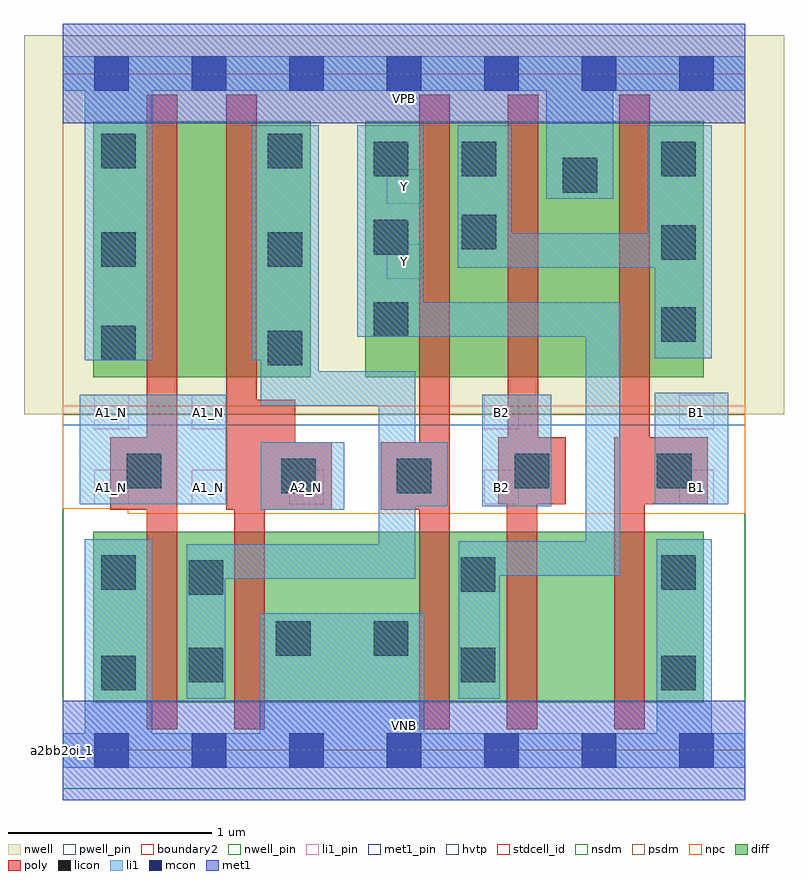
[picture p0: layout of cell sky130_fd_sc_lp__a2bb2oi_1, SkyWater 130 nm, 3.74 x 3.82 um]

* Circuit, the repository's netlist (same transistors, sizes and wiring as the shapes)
* Copyright 2020 The SkyWater PDK Authors
*
* Licensed under the Apache License, Version 2.0 (the "License");
* you may not use this file except in compliance with the License.
* You may obtain a copy of the License at
*
*     https://www.apache.org/licenses/LICENSE-2.0
*
* Unless required by applicable law or agreed to in writing, software
* distributed under the License is distributed on an "AS IS" BASIS,
* WITHOUT WARRANTIES OR CONDITIONS OF ANY KIND, either express or implied.
* See the License for the specific language governing permissions and
* limitations under the License.
*
* SPDX-License-Identifier: Apache-2.0

.SUBCKT sky130_fd_sc_lp__a2bb2oi_1 A1_N A2_N B1 B2 VGND VNB VPB VPWR Y
*.PININFO A1_N:I A2_N:I B1:I B2:I VGND:I VNB:I VPB:I VPWR:I Y:O
MMNnor0 inor A1_N VGND VNB sky130_fd_pr__nfet_01v8 m=1 w=0.84U l=0.15U mult=1 sa=0.265
+ sb=0.265 sd=0.28 area=0.063 perim=1.14
MMNnor1 inor A2_N VGND VNB sky130_fd_pr__nfet_01v8 m=1 w=0.84U l=0.15U mult=1 sa=0.265
+ sb=0.265 sd=0.28 area=0.063 perim=1.14
MMNaoi10 VGND B1 sndNB1 VNB sky130_fd_pr__nfet_01v8 m=1 w=0.84U l=0.15U mult=1
+ sa=0.265 sb=0.265 sd=0.28 area=0.063 perim=1.14
MMNaoi11 sndNB1 B2 Y VNB sky130_fd_pr__nfet_01v8 m=1 w=0.84U l=0.15U mult=1 sa=0.265
+ sb=0.265 sd=0.28 area=0.063 perim=1.14
MMNaoi20 Y inor VGND VNB sky130_fd_pr__nfet_01v8 m=1 w=0.84U l=0.15U mult=1 sa=0.265
+ sb=0.265 sd=0.28 area=0.063 perim=1.14
MMPnor0 VPWR A1_N sndPA1N VPB sky130_fd_pr__pfet_01v8_hvt m=1 w=1.26U l=0.15U mult=1
+ sa=0.265 sb=0.265 sd=0.28 area=0.063 perim=1.14
MMPnor1 sndPA1N A2_N inor VPB sky130_fd_pr__pfet_01v8_hvt m=1 w=1.26U l=0.15U mult=1
+ sa=0.265 sb=0.265 sd=0.28 area=0.063 perim=1.14
MMPaoi10 pmid B1 VPWR VPB sky130_fd_pr__pfet_01v8_hvt m=1 w=1.26U l=0.15U mult=1
+ sa=0.265 sb=0.265 sd=0.28 area=0.063 perim=1.14
MMPaoi11 pmid B2 VPWR VPB sky130_fd_pr__pfet_01v8_hvt m=1 w=1.26U l=0.15U mult=1
+ sa=0.265 sb=0.265 sd=0.28 area=0.063 perim=1.14
MMPaoi20 Y inor pmid VPB sky130_fd_pr__pfet_01v8_hvt m=1 w=1.26U l=0.15U mult=1
+ sa=0.265 sb=0.265 sd=0.28 area=0.063 perim=1.14
.ENDS sky130_fd_sc_lp__a2bb2oi_1

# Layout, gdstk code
import gdstk
lib = gdstk.Library(unit=1e-6, precision=1e-09)
def R(c, l, rs):  # rectangles x0, y0, x1, y1
    for r in rs: c.add(gdstk.rectangle(r[:2], r[2:], *l))
def A(c, l, x, y, w, h, nx, ny, dx, dy):  # array of equal rectangles
    R(c, l, [(x+i*dx, y+j*dy, x+i*dx+w, y+j*dy+h) for i in range(nx) for j in range(ny)])
def P(c, l, *ps):  # polygons
    for p in ps: c.add(gdstk.Polygon(p, *l))
nwell_pin = (64, 16)
nwell = (64, 20)
diff = (65, 20)
poly = (66, 20)
licon = (66, 44)
li1_pin = (67, 16)
li1 = (67, 20)
mcon = (67, 44)
met1_pin = (68, 16)
met1 = (68, 20)
hvtp = (78, 44)
stdcell_id = (81, 4)
nsdm = (93, 44)
psdm = (94, 20)
npc = (95, 20)
pwell_pin = (122, 16)
boundary2 = (236, 0)

sky130_fd_sc_lp__a2bb2oi = lib.new_cell('sky130_fd_sc_lp__a2bb2oi_1')
R(sky130_fd_sc_lp__a2bb2oi, nwell_pin, [(0,3.085,3.36,3.33)])
R(sky130_fd_sc_lp__a2bb2oi, nwell, [(-0.19,1.655,3.55,3.52)])
R(sky130_fd_sc_lp__a2bb2oi, diff, [(0.15,0.235,3.155,1.075), (0.15,1.835,1.22,3.095), (1.49,1.835,3.155,3.095)])
P(sky130_fd_sc_lp__a2bb2oi, poly, [(0.565,3.225),(0.415,3.225),(0.415,1.54),(0.235,1.54),(0.235,1.185),(0.415,1.185),(0.415,0.105),(0.565,0.105)],
  [(1.325,1.515),(1.145,1.515),(1.145,1.725),(0.955,1.725),(0.955,3.225),(0.805,3.225),(0.805,1.185),(0.845,1.185),(0.845,0.105),(0.995,0.105),(0.995,1.185),(1.325,1.185)],
  [(1.905,3.225),(1.755,3.225),(1.755,1.515),(1.565,1.515),(1.565,1.185),(1.755,1.185),(1.755,0.105),(1.905,0.105)],
  [(2.475,1.54),(2.34,1.54),(2.34,3.225),(2.19,3.225),(2.19,1.54),(2.145,1.54),(2.145,1.21),(2.185,1.21),(2.185,0.105),(2.335,0.105),(2.335,1.21),(2.475,1.21)],
  [(3.175,1.54),(2.89,1.54),(2.89,3.225),(2.74,3.225),(2.74,1.54),(2.715,1.54),(2.715,0.105),(2.865,0.105),(2.865,1.21),(3.175,1.21)])
A(sky130_fd_sc_lp__a2bb2oi, licon, 1.01, 1.895, 0.17, 0.17, 1, 3, 0, 0.485)
R(sky130_fd_sc_lp__a2bb2oi, licon, [(0.19,0.295,0.36,0.465), (2.945,0.295,3.115,0.465), (0.62,0.335,0.79,0.505), (1.96,0.335,2.13,0.505), (1.05,0.465,1.22,0.635), (1.53,0.465,1.7,0.635), (0.62,0.765,0.79,0.935), (1.96,0.78,2.13,0.95), (0.19,0.79,0.36,0.96), (2.945,0.79,3.115,0.96), (1.075,1.265,1.245,1.435), (1.645,1.265,1.815,1.435), (0.315,1.29,0.485,1.46), (2.225,1.29,2.395,1.46), (2.925,1.29,3.095,1.46), (0.19,1.92,0.36,2.09), (2.945,2.01,3.115,2.18), (1.53,2.035,1.7,2.205), (0.19,2.38,0.36,2.55), (2.945,2.415,3.115,2.585), (1.53,2.44,1.7,2.61), (1.965,2.465,2.135,2.635), (2.46,2.745,2.63,2.915), (1.53,2.825,1.7,2.995), (1.965,2.825,2.135,2.995), (2.945,2.825,3.115,2.995), (0.19,2.865,0.36,3.035)])
A(sky130_fd_sc_lp__a2bb2oi, li1_pin, 0.155, 1.21, 0.17, 0.17, 3, 1, 0.48, 0)
R(sky130_fd_sc_lp__a2bb2oi, li1_pin, [(2.075,1.21,2.245,1.38), (3.035,1.21,3.205,1.38), (0.155,1.58,0.325,1.75), (0.635,1.58,0.805,1.75), (2.075,1.58,2.245,1.75), (3.035,1.58,3.205,1.75), (1.595,2.32,1.765,2.49), (1.595,2.69,1.765,2.86)])
R(sky130_fd_sc_lp__a2bb2oi, li1, [(0.975,1.185,1.385,1.515), (2.065,1.2,2.405,1.75), (0.085,1.21,0.805,1.75), (2.915,1.21,3.275,1.76)])
P(sky130_fd_sc_lp__a2bb2oi, li1, [(0.11,1.92),(0.11,3.245),(0,3.245),(0,3.415),(3.36,3.415),(3.36,3.245),(2.71,3.245),(2.71,2.715),(2.38,2.715),(2.38,3.245),(0.44,3.245),(0.44,1.92)],
  [(2.925,0.085),(2.925,1.04),(3.195,1.04),(3.195,0.085),(3.36,0.085),(3.36,-0.085),(0,-0.085),(0,0.085),(0.11,0.085),(0.11,1.04),(0.44,1.04),(0.44,0.085),(0.97,0.085),(0.97,0.675),(1.78,0.675),(1.78,0.085)],
  [(2.745,0.86),(2.15,0.86),(2.15,0.255),(1.95,0.255),(1.95,1.03),(2.575,1.03),(2.575,2.035),(1.45,2.035),(1.45,3.075),(1.775,3.075),(1.775,2.205),(2.745,2.205)],
  [(2.21,2.545),(2.88,2.545),(2.88,3.075),(3.195,3.075),(3.195,1.93),(2.915,1.93),(2.915,2.375),(1.945,2.375),(1.945,3.075),(2.21,3.075)],
  [(1.895,1.515),(1.735,1.515),(1.735,1.865),(1.26,1.865),(1.26,3.075),(0.93,3.075),(0.93,1.92),(0.975,1.92),(0.975,1.695),(1.555,1.695),(1.555,1.015),(0.61,1.015),(0.61,0.255),(0.8,0.255),(0.8,0.845),(1.735,0.845),(1.735,1.2),(1.895,1.2)])
A(sky130_fd_sc_lp__a2bb2oi, mcon, 0.155, -0.085, 0.17, 0.17, 7, 2, 0.48, 3.33)
R(sky130_fd_sc_lp__a2bb2oi, met1_pin, [(0,0,3.36,0.245), (0,3.085,3.36,3.33)])
R(sky130_fd_sc_lp__a2bb2oi, met1, [(0,-0.245,3.36,0.245), (0,3.085,3.36,3.575)])
R(sky130_fd_sc_lp__a2bb2oi, hvtp, [(0,1.6,3.36,3.33)])
R(sky130_fd_sc_lp__a2bb2oi, stdcell_id, [(0,0,3.36,3.33)])
R(sky130_fd_sc_lp__a2bb2oi, nsdm, [(0,-0.19,3.36,1.655)])
R(sky130_fd_sc_lp__a2bb2oi, psdm, [(0,1.655,3.36,3.52)])
P(sky130_fd_sc_lp__a2bb2oi, npc, [(3.36,1.695),(0,1.695),(0,1.19),(0.32,1.19),(0.32,1.165),(3.36,1.165)])
R(sky130_fd_sc_lp__a2bb2oi, pwell_pin, [(0,0,3.36,0.245)])
R(sky130_fd_sc_lp__a2bb2oi, boundary2, [(0,0,3.36,3.33)])
sky130_fd_sc_lp__a2bb2oi.add(gdstk.Label('VNB', (1.68,0.123), layer=64, texttype=59))
sky130_fd_sc_lp__a2bb2oi.add(gdstk.Label('VPB', (1.68,3.208), layer=64, texttype=5))
sky130_fd_sc_lp__a2bb2oi.add(gdstk.Label('a2bb2oi_1', (0,0), layer=83, texttype=44))
sky130_fd_sc_lp__a2bb2oi.add(gdstk.Label('VPWR', (1.68,3.208), layer=68, texttype=5))
sky130_fd_sc_lp__a2bb2oi.add(gdstk.Label('VGND', (1.68,0.123), layer=68, texttype=5))
sky130_fd_sc_lp__a2bb2oi.add(gdstk.Label('A1_N', (0.24,1.295), layer=67, texttype=5))
sky130_fd_sc_lp__a2bb2oi.add(gdstk.Label('A1_N', (0.24,1.665), layer=67, texttype=5))
sky130_fd_sc_lp__a2bb2oi.add(gdstk.Label('A1_N', (0.72,1.295), layer=67, texttype=5))
sky130_fd_sc_lp__a2bb2oi.add(gdstk.Label('A1_N', (0.72,1.665), layer=67, texttype=5))
sky130_fd_sc_lp__a2bb2oi.add(gdstk.Label('B1', (3.12,1.295), layer=67, texttype=5))
sky130_fd_sc_lp__a2bb2oi.add(gdstk.Label('B1', (3.12,1.665), layer=67, texttype=5))
sky130_fd_sc_lp__a2bb2oi.add(gdstk.Label('B2', (2.16,1.295), layer=67, texttype=5))
sky130_fd_sc_lp__a2bb2oi.add(gdstk.Label('B2', (2.16,1.665), layer=67, texttype=5))
sky130_fd_sc_lp__a2bb2oi.add(gdstk.Label('Y', (1.68,2.405), layer=67, texttype=5))
sky130_fd_sc_lp__a2bb2oi.add(gdstk.Label('Y', (1.68,2.775), layer=67, texttype=5))
sky130_fd_sc_lp__a2bb2oi.add(gdstk.Label('A2_N', (1.2,1.295), layer=67, texttype=5))

lib.write_gds('sky130_fd_sc_lp__a2bb2oi_1.gds')
